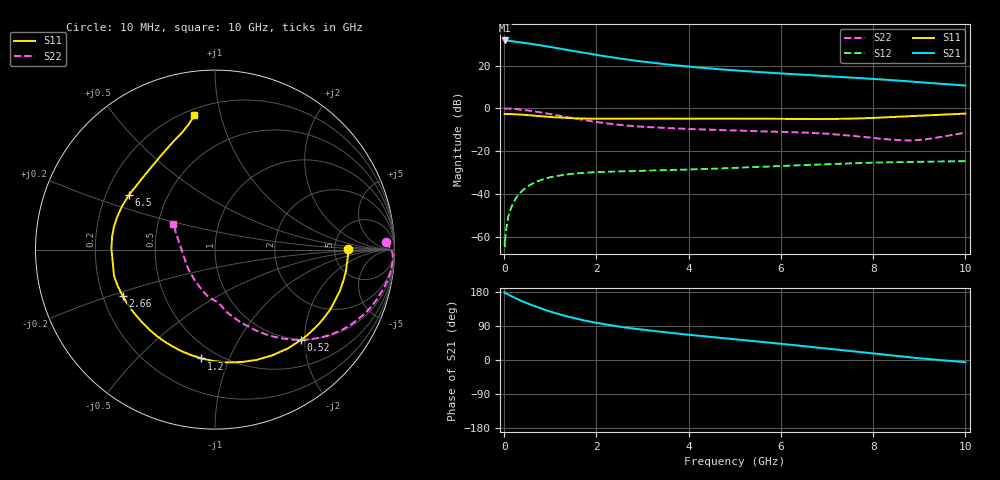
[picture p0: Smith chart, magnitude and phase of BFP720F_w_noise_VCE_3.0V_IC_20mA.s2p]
! Infineon Technologies  Discrete & RF Semiconductors
! BFP720F
! VCE =  3.0 V,  IC =  20 mA
! Common Emitter S-Parameters:  Jan 2016
# GHz  S  MA  R  50
!  f  S11  S21  S12  S22
! GHz  MAG  ANG  MAG  ANG  MAG  ANG  MAG  ANG
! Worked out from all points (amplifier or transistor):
!   233 points, 10 MHz to 10 GHz, reference 50 ohm
!   highest |S21| = 31.8 dB at 10 MHz (marker M1)
!   |S21| within 3 dB of that: start of sweep to 990.9 MHz
!   unconditionally stable (mu >= 1): start of sweep to 15.41 MHz; 5.532 GHz to end of sweep
!   at 200 MHz: K = 0.10, MSG = 37.7 dB, |S12| = -44.2 dB
!   at 1.74 GHz: K = 0.44, MSG = 28.0 dB, |S12| = -30.1 dB
!   at 10 GHz: K = 1.19, MAG = 15.1 dB, |S12| = -24.7 dB
!   lowest NFmin = 0.86 dB at 450 MHz
!   S11 on the Smith chart (normalised r, x): 10 MHz: 6.66, +0.04; 520 MHz: 0.98, -1.91; 1.2 GHz: 0.41, -0.80; 2.66 GHz: 0.28, -0.22; 6.5 GHz: 0.30, +0.27; 10 GHz: 0.24, +0.83
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0.01  0.739 0.1  38.79 179.0  0.0008 3.1  0.9551 2.6
0.02  0.7427 -1.6  38.58 176.6  0.0008 88.9  0.9878 -0.9
0.05  0.7397 -4.6  38.61 175.7  0.0016 88.1  0.9912 -2.1
0.1  0.7394 -9.3  38.23 172.2  0.0032 84.9  0.9911 -4.9
0.24  0.7273 -22.1  36.4 163.3  0.0075 79.1  0.9684 -12.0
0.4  0.7108 -36.4  34.44 154.7  0.012 72.0  0.9294 -19.7
0.52  0.6941 -46.6  33.01 148.8  0.0152 67.1  0.8952 -24.7
0.6  0.6841 -53.5  32.15 144.9  0.0171 64.2  0.8705 -28.2
0.8  0.6566 -69.4  29.77 135.9  0.0212 57.2  0.8055 -35.8
1  0.632 -83.9  27.36 127.8  0.0245 51.1  0.7374 -42.5
1.2  0.6111 -97.1  25.09 120.5  0.027 46.1  0.6734 -48.3
1.48  0.5891 -113.3  22.19 111.5  0.0295 40.4  0.5931 -55.3
1.68  0.5804 -123.1  20.37 105.9  0.0309 37.1  0.5441 -59.6
2.2  0.5736 -142.3  16.46 93.8  0.033 31.2  0.4495 -68.4
2.66  0.5755 -153.5  13.9 85.4  0.0339 28.3  0.3966 -74.0
3.4  0.5803 -164.2  11.07 74.5  0.0358 26.5  0.3526 -79.5
4  0.5771 179.5  9.481 66.5  0.0372 25.9  0.3299 -82.0
5.1  0.5763 165.9  7.6 53.5  0.041 25.5  0.3012 -85.6
6.5  0.5676 147.3  6.117 36.5  0.0473 23.4  0.2732 -95.0
6.8  0.5651 142.4  5.848 32.8  0.0486 22.5  0.2628 -98.5
8.4  0.6274 114.5  4.583 11.9  0.0551 16.3  0.1861 -141.0
10  0.7562 98.8  3.424 -5.7  0.0582 10.7  0.2709 148.6
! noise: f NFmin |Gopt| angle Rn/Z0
0.45  0.86  0.16  0  0.43
0.9  0.89  0.09  -6  0.15
1.8  0.92  0.07  -52  0.15
2.4  0.94  0.08  -58  0.15
5.5  1.06  0.08  -60  0.14
10  1.24  0.38  -81  0.26
